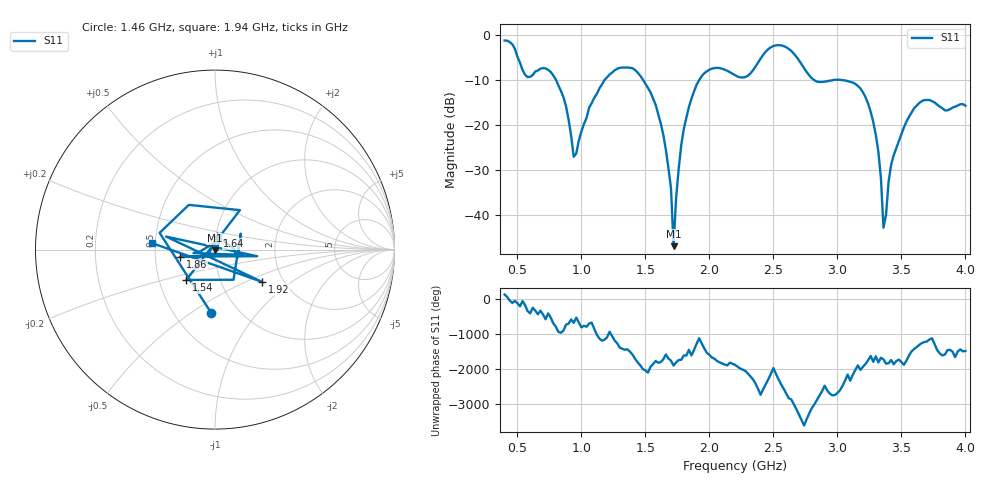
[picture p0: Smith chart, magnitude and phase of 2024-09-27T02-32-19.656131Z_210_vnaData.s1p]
!Created with skrf (http://scikit-rf.org).
# Hz S RI R 50.0
!freq ReS11 ImS11
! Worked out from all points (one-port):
!   181 points, 400 MHz to 4 GHz, reference 50 ohm
!   lowest |S11| = -46.9 dB at 1.72 GHz (marker M1), VSWR 1.01, Z = 49.9 - j0.449 ohm
!   |S11| at or under -10 dB: 802.7 MHz to 1.179 GHz (376.6 MHz wide, 38 % of centre); 1.484 GHz to 1.92 GHz (436 MHz wide, 25.6 % of centre); 3.044 GHz to end of sweep (the widest 3 of 4)
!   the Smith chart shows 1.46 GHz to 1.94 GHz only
!   S11 on the Smith chart (normalised r, x): 1.46 GHz: 0.75, -0.61; 1.54 GHz: 0.69, -0.25; 1.64 GHz: 1.01, +0.16; 1.86 GHz: 0.67, -0.05; 1.92 GHz: 1.56, -0.62; 1.94 GHz: 0.48, +0.04
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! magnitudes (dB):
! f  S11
! 400 MHz  -1.2
! 560 MHz  -8.8
! 720 MHz  -7.4
! 860 MHz  -13.8
! 940 MHz  -27.0
! 1.06 GHz  -16.1
! 1.3 GHz  -7.2
! 1.46 GHz  -9.0
! 1.54 GHz  -12.7
! 1.64 GHz  -22.2
! 1.7 GHz  -34.0
! 1.72 GHz  -46.9
! 1.76 GHz  -29.7
! 1.86 GHz  -14.1
! 1.92 GHz  -10.0
! 1.94 GHz  -9.1
! 2.2 GHz  -8.9
! 2.5 GHz  -2.4
! 2.66 GHz  -4.1
! 2.84 GHz  -10.3
! 3.1 GHz  -10.3
! 3.28 GHz  -19.2
! 3.34 GHz  -31.7
! 3.36 GHz  -42.8
! 3.42 GHz  -28.8
! 3.56 GHz  -18.1
! 3.68 GHz  -14.4
! 4 GHz  -15.6
